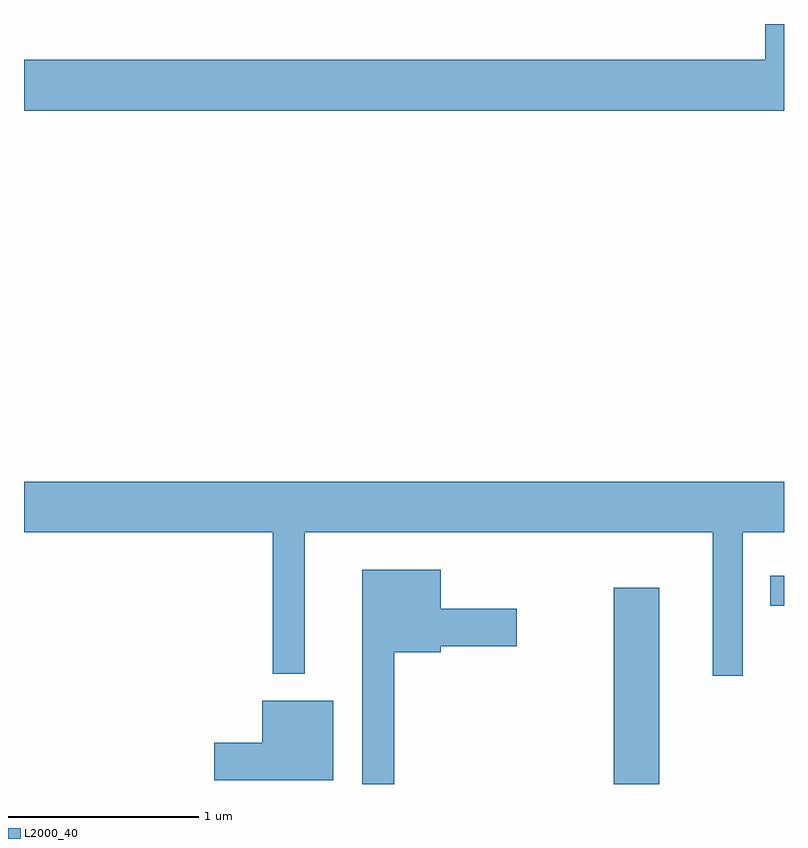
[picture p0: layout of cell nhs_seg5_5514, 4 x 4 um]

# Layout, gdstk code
import gdstk
lib = gdstk.Library(unit=1e-6, precision=1e-09)
def R(c, l, rs):  # rectangles x0, y0, x1, y1
    for r in rs: c.add(gdstk.rectangle(r[:2], r[2:], *l))
def P(c, l, *ps):  # polygons
    for p in ps: c.add(gdstk.Polygon(p, *l))
L2000_40 = (2000, 40)

nhs_seg5_5514 = lib.new_cell('nhs_seg5_5514')
R(nhs_seg5_5514, L2000_40, [(350.716,1522.072,350.954,1523.104), (351.538,1523.011,351.611,1523.169)])
P(nhs_seg5_5514, L2000_40, [(351.611,1526.072),(351.511,1526.072),(351.511,1525.884),(347.611,1525.884),(347.611,1525.616),(351.611,1525.616)],
  [(351.394,1523.396),(351.611,1523.396),(351.611,1523.664),(347.611,1523.664),(347.611,1523.396),(348.921,1523.396),(348.921,1522.653),(349.089,1522.653),(349.089,1523.396),(351.236,1523.396),(351.236,1522.643),(351.394,1522.643)],
  [(349.559,1522.766),(349.804,1522.766),(349.804,1522.796),(350.204,1522.796),(350.204,1522.994),(349.804,1522.994),(349.804,1523.199),(349.391,1523.199),(349.391,1522.072),(349.559,1522.072)],
  [(349.239,1522.509),(348.866,1522.509),(348.866,1522.289),(348.611,1522.289),(348.611,1522.091),(349.239,1522.091)])

lib.write_gds('nhs_seg5_5514.gds')
